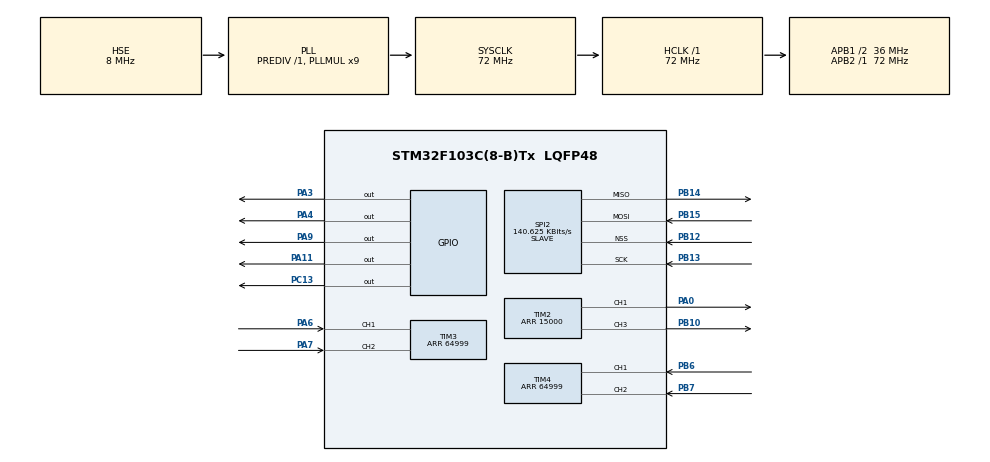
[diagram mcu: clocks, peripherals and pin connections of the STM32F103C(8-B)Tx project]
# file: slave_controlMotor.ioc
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Mcu.Family=STM32F1
Mcu.Name=STM32F103C(8-B)Tx
Mcu.Package=LQFP48
NVIC.PriorityGroup=NVIC_PRIORITYGROUP_4
NVIC.SPI2_IRQn=true\:0\:0\:true\:false\:true\:true\:true
NVIC.TIM1_UP_IRQn=true\:1\:0\:true\:false\:true\:true\:true
NVIC.TIM3_IRQn=true\:2\:0\:true\:false\:true\:true\:true
NVIC.TIM4_IRQn=true\:2\:0\:true\:false\:true\:true\:true
PA0-WKUP.Signal=S_TIM2_CH1_ETR
PA11.GPIO_PuPd=GPIO_PULLDOWN
PA11.Signal=GPIO_Output
PA13.Mode=Serial_Wire
PA13.Signal=SYS_JTMS-SWDIO
PA14.Mode=Serial_Wire
PA14.Signal=SYS_JTCK-SWCLK
PA3.GPIO_PuPd=GPIO_PULLDOWN
PA3.Signal=GPIO_Output
PA4.GPIO_PuPd=GPIO_PULLDOWN
PA4.Signal=GPIO_Output
PA6.GPIO_PuPd=GPIO_PULLDOWN
PA6.Signal=S_TIM3_CH1
PA7.GPIO_PuPd=GPIO_PULLDOWN
PA7.Signal=S_TIM3_CH2
PA9.GPIO_PuPd=GPIO_PULLDOWN
PA9.Signal=GPIO_Output
PB10.Signal=S_TIM2_CH3
PB12.GPIO_PuPd=GPIO_PULLUP
PB12.Mode=NSS_Signal_Hard_Input
PB12.Signal=SPI2_NSS
PB13.GPIO_PuPd=GPIO_PULLDOWN
PB13.Mode=Full_Duplex_Slave
PB13.Signal=SPI2_SCK
PB14.Mode=Full_Duplex_Slave
PB14.Signal=SPI2_MISO
PB15.GPIO_PuPd=GPIO_PULLDOWN
PB15.Mode=Full_Duplex_Slave
PB15.Signal=SPI2_MOSI
PB6.GPIO_PuPd=GPIO_PULLDOWN
PB6.Signal=S_TIM4_CH1
PB7.GPIO_PuPd=GPIO_PULLDOWN
PB7.Signal=S_TIM4_CH2
PC13-TAMPER-RTC.Signal=GPIO_Output
PD0-OSC_IN.Mode=HSE-External-Oscillator
PD0-OSC_IN.Signal=RCC_OSC_IN
PD1-OSC_OUT.Mode=HSE-External-Oscillator
PD1-OSC_OUT.Signal=RCC_OSC_OUT
ProjectManager.HeapSize=0x200
ProjectManager.StackSize=0x400
ProjectManager.TargetToolchain=STM32CubeIDE
RCC.AHBFreq_Value=72000000
RCC.APB1CLKDivider=RCC_HCLK_DIV2
RCC.APB1Freq_Value=36000000
RCC.APB1TimFreq_Value=72000000
RCC.APB2Freq_Value=72000000
RCC.APB2TimFreq_Value=72000000
RCC.HCLKFreq_Value=72000000
RCC.PLLMUL=RCC_PLL_MUL9
RCC.PLLSourceVirtual=RCC_PLLSOURCE_HSE
RCC.SYSCLKFreq_VALUE=72000000
RCC.SYSCLKSource=RCC_SYSCLKSOURCE_PLLCLK
RCC.USBFreq_Value=72000000
SH.S_TIM2_CH1_ETR.0=TIM2_CH1,PWM Generation1 CH1
SH.S_TIM2_CH3.0=TIM2_CH3,PWM Generation3 CH3
SH.S_TIM3_CH1.0=TIM3_CH1,Encoder_Interface
SH.S_TIM3_CH2.0=TIM3_CH2,Encoder_Interface
SH.S_TIM4_CH1.0=TIM4_CH1,Encoder_Interface
SH.S_TIM4_CH2.0=TIM4_CH2,Encoder_Interface
SPI2.BaudRatePrescaler=SPI_BAUDRATEPRESCALER_256
SPI2.CalculateBaudRate=140.625 KBits/s
SPI2.Direction=SPI_DIRECTION_2LINES
SPI2.Mode=SPI_MODE_SLAVE
SPI2.VirtualNSS=VM_NSSHARD
SPI2.VirtualType=VM_SLAVE
TIM1.Channel-Output\ Compare1\ No\ Output=TIM_CHANNEL_1
TIM1.Period=59999
TIM1.Prescaler=11
TIM2.Channel-PWM\ Generation1\ CH1=TIM_CHANNEL_1
TIM2.Channel-PWM\ Generation3\ CH3=TIM_CHANNEL_3
TIM2.Period=15000
TIM3.EncoderMode=TIM_ENCODERMODE_TI12
TIM3.Period=64999
TIM4.EncoderMode=TIM_ENCODERMODE_TI12
TIM4.IC1Polarity=TIM_ICPOLARITY_FALLING
TIM4.IC2Polarity=TIM_ICPOLARITY_RISING
TIM4.Period=64999
VP_TIM1_VS_ClockSourceINT.Mode=Internal
VP_TIM1_VS_no_output1.Mode=Output Compare1 No Output
VP_TIM2_VS_ClockSourceINT.Mode=Internal
board=custom

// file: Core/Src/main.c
/* USER CODE BEGIN Header */
/**
 ******************************************************************************
 * @file           : main.c
 * @brief          : Main program body
 ******************************************************************************
 * @attention
 *
 * <h2><center>&copy; Copyright (c) 2021 STMicroelectronics.
 * All rights reserved.</center></h2>
 *
 * This software component is licensed by ST under BSD 3-Clause license,
 * the "License"; You may not use this file except in compliance with the
 * License. You may obtain a copy of the License at:
 *                        opensource.org/licenses/BSD-3-Clause
 *
 ******************************************************************************
 */
/* USER CODE END Header */
#include "main.h"

/* USER CODE BEGIN Includes */
#include "stdlib.h"
#include <stdio.h>
#include <inttypes.h>
#include "math.h"
/* USER CODE END Includes */

/* USER CODE BEGIN PD */
#define MAX_BUFFER 40
#define MAX_DUTY_CICLE 15000
#define ZERO_MARGIN 5.0
/* USER CODE END PD */

SPI_HandleTypeDef hspi2;

TIM_HandleTypeDef htim1;
TIM_HandleTypeDef htim2;
TIM_HandleTypeDef htim3;
TIM_HandleTypeDef htim4;

/* USER CODE BEGIN PV */
uint8_t byte;
uint8_t indRx = 0, flagRx;
char buffer[MAX_BUFFER];
uint8_t in_buffer[14];
uint8_t out_buffer[14] = { ':', 'w', '1', '-', '0', '1', ';', ':', 'w', '2',
		'-', '0', '2', ';' };

int contOUFlow = 0, pulsosAnt = 0, pulsosAct = 0;
int contOUFlow2 = 0, pulsosAnt2 = 0, pulsosAct2 = 0;
double velocidadPulsos = 0, velocidadRPM = 0, deltaT = 0.01;
double velocidadPulsos2 = 0, velocidadRPM2 = 0;

//variables para control
double error_vel_act = 0, error_vel_ant = 0;
double error_vel_act2 = 0, error_vel_ant2 = 0;
double velocidad_consigna = 0;
double velocidad_consigna2 = 0;
double KP1 = 20, KI1 = 2, KD1 = 4;
double KP2 = 20, KI2 = 2, KD2 = 4;
//double ZERO_MARGIN = 5.0;

double Ui_anterior = 0, Ui_actual = 0; // para control integral
double Up = 0;
double Ud = 0;
double Ui_anterior2 = 0, Ui_actual2 = 0; // para control integral
double Up2 = 0;
double Ud2 = 0;

int control = 1, control2 = 1;
uint32_t duty_cycle_pid = 0;
uint32_t duty_cycle_pid2 = 0;
int stop1 = 1;
int stop2 = 1;

char s1;
char s2;

char v1_1;
char v1_2;

char v2_1;
char v2_2 ;

int v1, v2;

/* USER CODE END PV */

void SystemClock_Config(void);
static void MX_GPIO_Init(void);
static void MX_TIM1_Init(void);
static void MX_TIM2_Init(void);
static void MX_SPI2_Init(void);
static void MX_TIM3_Init(void);
static void MX_TIM4_Init(void);

/* USER CODE BEGIN 0 */
void interpreteComando() {

	double consigna;

	switch (buffer[0]) {
		case 'W':
		case 'w':
			switch (buffer[1]) {
			/*codigo ascii de '1' = 49*/
			case 49:
				if (buffer[2]) {
					/*codigo ascii de '+' = 43*/
					if (buffer[2] == 43) {
						stop1 = 0;
						if (buffer[3]) {
							consigna = atof(&buffer[3]);
							if (consigna < 35) {
								velocidad_consigna = consigna;
							} else {
								velocidad_consigna = 35;
							}
						}
						/*codigo ascii de '-' = 45*/
					} else if (buffer[2] == 45) {
						stop1 = 0;
						if (buffer[3]) {
							consigna = atof(&buffer[3]);
							if (consigna < 35) {
								velocidad_consigna = -consigna;
							} else {
								velocidad_consigna = -35;
							}
						}
						/*codigo ascii de '0' = 48*/
					} else if (buffer[2] == 48) {
						velocidad_consigna = 0;
						stop1 = 1;
					}
				}
				break;
				/*codigo ascii de '2' = 50*/
			case 50:
				if (buffer[2]) {
					if (buffer[2] == 43) {
						stop2 = 0;
						if (buffer[3]) {
							consigna = atof(&buffer[3]);
							if (consigna < 35) {
								velocidad_consigna2 = consigna;
							} else {
								velocidad_consigna2 = 35;
							}
						}
					} else if (buffer[2] == 45) {
						stop2 = 0;
						if (buffer[3]) {
							consigna = atof(&buffer[3]);
							if (consigna == 0) {
								velocidad_consigna2 = 0;
							} else if (consigna < 35) {
								velocidad_consigna2 = -consigna;
							} else {
								velocidad_consigna2 = -35;
							}
						}
					} else if (buffer[2] == 48) {
						velocidad_consigna2 = 0;
						stop2 = 1;
					}
				}
				break;
				/*codigo ascii simbolo '?' = 63 */
			}
			break;
		case 'p':
		case 'P':
			switch (buffer[1]) {
			/*codigo ascii de '1' = 49*/
			case 49:
				consigna = atof(&buffer[2]);
				KP1 = (float) consigna;
				printf("\r\n");
				break;
				/*codigo ascii de '2' = 50*/
			case 50:
				consigna = atof(&buffer[2]);
				KP2 = (float) consigna;
				printf("\r\n");
				break;
			default:
				printf("\r\n Por favor indicar el valor correcto ( 1 ó 2 )\r\n");
				break;

			}
			break;
		case 'i':
		case 'I':
			switch (buffer[1]) {
			/*codigo ascii de '1' = 49*/
			case 49:
				consigna = atof(&buffer[2]);
				KI1 = (float) consigna;
				printf("\r\n");
				break;
				/*codigo ascii de '2' = 50*/
			case 50:
				consigna = atof(&buffer[2]);
				KI2 = (float) consigna;
				printf("\r\n");
				break;
			default:
				printf("\r\n Por favor indicar el valor correcto ( 1 ó 2 )\r\n");
				break;
			}
			break;
		case 'd':
		case 'D':
			switch (buffer[1]) {
			/*codigo ascii de '1' = 49*/
			case 49:
				consigna = atof(&buffer[2]);
				KD1 = (float) consigna;
				printf("\r\n");
				break;
				/*codigo ascii de '2' = 50*/
			case 50:
				consigna = atof(&buffer[2]);
				KD2 = (float) consigna;
				printf("\r\n");
				break;
			default:
				printf("\r\n Por favor indicar el valor correcto ( 1 ó 2 )\r\n");
				break;
			}
			break;
	}

}

void generateSpeedResponse(double vel1, double vel2) {

  	if (vel1 < 0) {
		s1 = '-';
	} else {
		s1 = '+';
	}

	if (vel2 < 0) {
		s2 = '-';
	} else {
		s2 = '+';
	}

	v1 = (int) fabs(vel1);
	v2 = (int) fabs(vel2);

	if (v1 < 10) {
		v1_1 = '0';
		v1_2 = v1 + '0';
	} else {
		v1_1 = (v1 / 10) + '0';
		v1_2 = (v1 % 10) + '0';
	}

	if (v2 < 10) {
		v2_1 = '0';
		v2_2 = v2 + '0';
	} else {
		v2_1 = (v2 / 10) + '0';
		v2_2 = (v2 % 10) + '0';
	}

	out_buffer[3] = s1;
	out_buffer[4] = v1_1;
	out_buffer[5] = v1_2;
	out_buffer[10] = s2;
	out_buffer[11] = v2_1;
	out_buffer[12] = v2_2;

}

int directionConsistencyChecker(double speed_set_point, int motor) {
	if(motor == 1) {
		if(speed_set_point > 0) {
			return HAL_GPIO_ReadPin(GPIOA, GPIO_PIN_3) && !HAL_GPIO_ReadPin(GPIOA, GPIO_PIN_4);
		}else if (speed_set_point < 0) {
			return !HAL_GPIO_ReadPin(GPIOA, GPIO_PIN_3) && HAL_GPIO_ReadPin(GPIOA, GPIO_PIN_4);
		}else {
			return HAL_GPIO_ReadPin(GPIOA, GPIO_PIN_3) && HAL_GPIO_ReadPin(GPIOA, GPIO_PIN_4);
		}
	}else if(motor == 2) {
		if(speed_set_point > 0) {
			return HAL_GPIO_ReadPin(GPIOA, GPIO_PIN_11) && !HAL_GPIO_ReadPin(GPIOA, GPIO_PIN_9);
		}else if (speed_set_point < 0) {
			return !HAL_GPIO_ReadPin(GPIOA, GPIO_PIN_11) && HAL_GPIO_ReadPin(GPIOA, GPIO_PIN_9);
		}else {
			return HAL_GPIO_ReadPin(GPIOA, GPIO_PIN_11) && HAL_GPIO_ReadPin(GPIOA, GPIO_PIN_9);
		}
	}
	return 0;
}

void setDirection(double speed_set_point, int motor) {
	if(motor == 1) {
		if(speed_set_point > 0) {
			HAL_GPIO_WritePin(GPIOA, GPIO_PIN_3, 1);
			HAL_GPIO_WritePin(GPIOA, GPIO_PIN_4, 0);
		}else if (speed_set_point < 0) {
			HAL_GPIO_WritePin(GPIOA, GPIO_PIN_3, 0);
			HAL_GPIO_WritePin(GPIOA, GPIO_PIN_4, 1);
		}else {
			HAL_GPIO_WritePin(GPIOA, GPIO_PIN_3, 1);
			HAL_GPIO_WritePin(GPIOA, GPIO_PIN_4, 1);
		}
	}else if(motor == 2) {
		if(speed_set_point > 0) {
			HAL_GPIO_WritePin(GPIOA, GPIO_PIN_11, 1);
			HAL_GPIO_WritePin(GPIOA, GPIO_PIN_9, 0);
		}else if (speed_set_point < 0) {
			HAL_GPIO_WritePin(GPIOA, GPIO_PIN_11, 0);
			HAL_GPIO_WritePin(GPIOA, GPIO_PIN_9, 1);
		}else {
			HAL_GPIO_WritePin(GPIOA, GPIO_PIN_11, 1);
			HAL_GPIO_WritePin(GPIOA, GPIO_PIN_9, 1);
		}
	}
}

void HAL_TIM_PeriodElapsedCallback(TIM_HandleTypeDef *htim) {
	if (htim->Instance == TIM1) {

		pulsosAct = (contOUFlow * 65000) + __HAL_TIM_GET_COUNTER(&htim3);
		velocidadPulsos = (pulsosAct - pulsosAnt) / deltaT;
		velocidadRPM = velocidadPulsos / (168 * 44) * 60;
		pulsosAnt = pulsosAct;

		pulsosAct2 = (contOUFlow2 * 65000) + __HAL_TIM_GET_COUNTER(&htim4);
		velocidadPulsos2 = (pulsosAct2 - pulsosAnt2) / deltaT;
		velocidadRPM2 = velocidadPulsos2 / (168 * 44) * 60;
		pulsosAnt2 = pulsosAct2;

		/*se cargan los valores de velocidad en el buffer de salida de spi*/
		generateSpeedResponse(velocidadRPM, velocidadRPM2);

		int consistent_direction_1 = directionConsistencyChecker(velocidad_consigna, 1);
		int consistent_direction_2 = directionConsistencyChecker(velocidad_consigna2, 2);

		if(!consistent_direction_1) {
			if(velocidadRPM < ZERO_MARGIN && velocidadRPM > -ZERO_MARGIN) {
				setDirection(velocidad_consigna, 1);
				control = 1;
			}else {
				HAL_GPIO_WritePin(GPIOA, GPIO_PIN_3, 1);
				HAL_GPIO_WritePin(GPIOA, GPIO_PIN_4, 1);
				control = 0;
				duty_cycle_pid = 0; //Free running stop, fast stop can cause overcurrent protection tripping
				__HAL_TIM_SET_COMPARE(&htim2, TIM_CHANNEL_1, duty_cycle_pid);
				stop1 = 1;
			}
		}

		if(!consistent_direction_2) {
			if(velocidadRPM2 < ZERO_MARGIN && velocidadRPM2 > -ZERO_MARGIN) {
				setDirection(velocidad_consigna2, 2);
				control2 = 1;
			}else {
				HAL_GPIO_WritePin(GPIOA, GPIO_PIN_9, 1);
				HAL_GPIO_WritePin(GPIOA, GPIO_PIN_11, 1);
				control2 = 0;
				duty_cycle_pid2 = 0;
				__HAL_TIM_SET_COMPARE(&htim2, TIM_CHANNEL_3, duty_cycle_pid2);
				stop2 = 1;
			}
		}

		//para el control
		if (control == 1) {
			//calculo PID:
			/*
			 *----------------  control motor 1
			 */

			error_vel_act = velocidad_consigna - velocidadRPM;
			if (stop1 == 1) {
				Ui_anterior = 0;
			}
			Up = KP1 * error_vel_act;
			Ui_actual = Ui_anterior + (KI1 * deltaT * error_vel_ant);
			Ud = (KD1 / deltaT) * (error_vel_act - error_vel_ant);
			if (velocidad_consigna > 0) {
				duty_cycle_pid = (uint32_t) fabs(
						duty_cycle_pid + (Up + Ui_actual + Ud));
			} else if (velocidad_consigna < 0) {
				duty_cycle_pid = (uint32_t) fabs(
						duty_cycle_pid - (Up + Ui_actual + Ud));
			} else {
				duty_cycle_pid = 0;
			}

			if (duty_cycle_pid > MAX_DUTY_CICLE) {
				duty_cycle_pid = MAX_DUTY_CICLE;
			}
			__HAL_TIM_SET_COMPARE(&htim2, TIM_CHANNEL_1, duty_cycle_pid);
			Ui_anterior = Ui_actual;
			error_vel_ant = error_vel_act;

		}

		if(control2 == 1){

			/*
			 * ------------------control motor 2
			 */

			error_vel_act2 = velocidad_consigna2 - velocidadRPM2;
			if (stop2 == 1) {
				Ui_anterior2 = 0;
			}
			Up2 = KP2 * error_vel_act2;
			Ui_actual2 = Ui_anterior2 + KI2 * deltaT * error_vel_ant2;
			Ud2 = KD2 / deltaT * (error_vel_act2 - error_vel_ant2);
			if (velocidad_consigna2 > 0) {
				duty_cycle_pid2 = (uint32_t) fabs(
						duty_cycle_pid2 + (Up2 + Ui_actual2 + Ud2));
			} else if (velocidad_consigna2 < 0) {
				duty_cycle_pid2 = (uint32_t) fabs(
						duty_cycle_pid2 - (Up2 + Ui_actual2 + Ud2));
			} else {
				duty_cycle_pid2 = 0;
			}
			if (duty_cycle_pid2 > MAX_DUTY_CICLE) {
				duty_cycle_pid2 = MAX_DUTY_CICLE;
			}
			__HAL_TIM_SET_COMPARE(&htim2, TIM_CHANNEL_3, duty_cycle_pid2);
			Ui_anterior2 = Ui_actual2;
			error_vel_ant2 = error_vel_act2;

		}
	} else if (htim->Instance == TIM3) {
		if (__HAL_TIM_GET_COUNTER(&htim3) > (htim->Init.Period + 1) / 2) { //Underflow
			contOUFlow--;
		} else { //Overflow
			contOUFlow++;
		}
	} else if (htim->Instance == TIM4) {
		if (__HAL_TIM_GET_COUNTER(&htim4) > (htim->Init.Period + 1) / 2) { //Underflow
			contOUFlow2--;
		} else { //Overflow
			contOUFlow2++;
		}
	}
}

/**
 * @brief  The application entry point.
 * @retval int
 */
void HAL_SPI_TxRxCpltCallback(SPI_HandleTypeDef *hspi) {
	if (hspi->Instance == SPI2) {
		for (int i = 0; i < 14; i++) {
			switch (in_buffer[i]) {
			case ':': //Comienzo de la trama
				flagRx = 1;
				indRx = 0;
				break;
			case ';':  //Fin de trama.
				if (flagRx) {
					flagRx = 0;
					buffer[indRx] = 0;
					interpreteComando();
				}
				break;
			default: //Almacenamiento de la trama.
				if (flagRx) {
					buffer[indRx] = in_buffer[i];
					if (indRx < MAX_BUFFER - 1) {
						indRx++;
					}

				}
				break;
			}
		}
		HAL_SPI_TransmitReceive_IT(&hspi2, &out_buffer[0], &in_buffer[0],14);

	}

}

/* USER CODE END 0 */

int main(void)
{

  /* MCU Configuration--------------------------------------------------------*/

  /* Reset of all peripherals, Initializes the Flash interface and the Systick. */
  HAL_Init();

  /* Configure the system clock */
  SystemClock_Config();

  /* Initialize all configured peripherals */
  MX_GPIO_Init();
  MX_TIM1_Init();
  MX_TIM2_Init();
  MX_SPI2_Init();
  MX_TIM3_Init();
  MX_TIM4_Init();
  /* USER CODE BEGIN 2 */
	HAL_TIM_Base_Start_IT(&htim1);
	HAL_TIM_OC_Start_IT(&htim1, TIM_CHANNEL_1);

	/*Se activan canales para generacion PWM- */
	/*canal 1 para motor 1 */
	/*canal 3 para motor 2*/
	HAL_TIM_Base_Start(&htim2);
	HAL_TIM_PWM_Start_IT(&htim2, TIM_CHANNEL_1);
	HAL_TIM_PWM_Start_IT(&htim2, TIM_CHANNEL_3);

	HAL_TIM_Base_Start_IT(&htim3);
	HAL_TIM_Encoder_Start_IT(&htim3, TIM_CHANNEL_ALL);

	HAL_TIM_Base_Start_IT(&htim4);
	HAL_TIM_Encoder_Start_IT(&htim4, TIM_CHANNEL_ALL);

	/*Se activa frenado el motor  1*/
	HAL_GPIO_WritePin(GPIOA, GPIO_PIN_3, 1);
	HAL_GPIO_WritePin(GPIOA, GPIO_PIN_4, 1);

	/*Se activa frenado el motor 2*/
	HAL_GPIO_WritePin(GPIOA, GPIO_PIN_9, 1);
	HAL_GPIO_WritePin(GPIOA, GPIO_PIN_11, 1);
	/*Se fuerza valor del contador del timer 3 y 4 para lecturas de encoders*/
	__HAL_TIM_SET_COUNTER(&htim3, 0);
	__HAL_TIM_SET_COUNTER(&htim4, 0);

	/*se inicializa el duty cicle de los motores*/
	__HAL_TIM_SET_COMPARE(&htim2, TIM_CHANNEL_3, 0);
	__HAL_TIM_SET_COMPARE(&htim2, TIM_CHANNEL_1, 0);
	HAL_SPI_TransmitReceive_IT(&hspi2, &out_buffer[0], &in_buffer[0],14);
  /* USER CODE END 2 */

  /* Infinite loop */
  /* USER CODE BEGIN WHILE */
	while (1) {

		HAL_GPIO_WritePin(GPIOC, GPIO_PIN_13, 1);
		HAL_Delay(100);
		HAL_GPIO_WritePin(GPIOC, GPIO_PIN_13, 0);
		HAL_Delay(100);
    /* USER CODE END WHILE */

	}
}

void SystemClock_Config(void)
{
  RCC_OscInitTypeDef RCC_OscInitStruct = {0};
  RCC_ClkInitTypeDef RCC_ClkInitStruct = {0};

  /** Initializes the RCC Oscillators according to the specified parameters
  * in the RCC_OscInitTypeDef structure.
  */
  RCC_OscInitStruct.OscillatorType = RCC_OSCILLATORTYPE_HSE;
  RCC_OscInitStruct.HSEState = RCC_HSE_ON;
  RCC_OscInitStruct.HSEPredivValue = RCC_HSE_PREDIV_DIV1;
  RCC_OscInitStruct.HSIState = RCC_HSI_ON;
  RCC_OscInitStruct.PLL.PLLState = RCC_PLL_ON;
  RCC_OscInitStruct.PLL.PLLSource = RCC_PLLSOURCE_HSE;
  RCC_OscInitStruct.PLL.PLLMUL = RCC_PLL_MUL9;
  if (HAL_RCC_OscConfig(&RCC_OscInitStruct) != HAL_OK)
  {
    Error_Handler();
  }
  /** Initializes the CPU, AHB and APB buses clocks
  */
  RCC_ClkInitStruct.ClockType = RCC_CLOCKTYPE_HCLK|RCC_CLOCKTYPE_SYSCLK
                              |RCC_CLOCKTYPE_PCLK1|RCC_CLOCKTYPE_PCLK2;
  RCC_ClkInitStruct.SYSCLKSource = RCC_SYSCLKSOURCE_PLLCLK;
  RCC_ClkInitStruct.AHBCLKDivider = RCC_SYSCLK_DIV1;
  RCC_ClkInitStruct.APB1CLKDivider = RCC_HCLK_DIV2;
  RCC_ClkInitStruct.APB2CLKDivider = RCC_HCLK_DIV1;

  if (HAL_RCC_ClockConfig(&RCC_ClkInitStruct, FLASH_LATENCY_2) != HAL_OK)
  {
    Error_Handler();
  }
}

static void MX_SPI2_Init(void)
{

  /* SPI2 parameter configuration*/
  hspi2.Instance = SPI2;
  hspi2.Init.Mode = SPI_MODE_SLAVE;
  hspi2.Init.Direction = SPI_DIRECTION_2LINES;
  hspi2.Init.DataSize = SPI_DATASIZE_8BIT;
  hspi2.Init.CLKPolarity = SPI_POLARITY_LOW;
  hspi2.Init.CLKPhase = SPI_PHASE_1EDGE;
  hspi2.Init.NSS = SPI_NSS_HARD_INPUT;
  hspi2.Init.BaudRatePrescaler = SPI_BAUDRATEPRESCALER_256;
  hspi2.Init.FirstBit = SPI_FIRSTBIT_MSB;
  hspi2.Init.TIMode = SPI_TIMODE_DISABLE;
  hspi2.Init.CRCCalculation = SPI_CRCCALCULATION_DISABLE;
  hspi2.Init.CRCPolynomial = 10;
  if (HAL_SPI_Init(&hspi2) != HAL_OK)
  {
    Error_Handler();
  }

}

static void MX_TIM1_Init(void)
{

  TIM_ClockConfigTypeDef sClockSourceConfig = {0};
  TIM_MasterConfigTypeDef sMasterConfig = {0};
  TIM_OC_InitTypeDef sConfigOC = {0};
  TIM_BreakDeadTimeConfigTypeDef sBreakDeadTimeConfig = {0};

  htim1.Instance = TIM1;
  htim1.Init.Prescaler = 11;
  htim1.Init.CounterMode = TIM_COUNTERMODE_UP;
  htim1.Init.Period = 59999;
  htim1.Init.ClockDivision = TIM_CLOCKDIVISION_DIV1;
  htim1.Init.RepetitionCounter = 0;
  htim1.Init.AutoReloadPreload = TIM_AUTORELOAD_PRELOAD_DISABLE;
  if (HAL_TIM_Base_Init(&htim1) != HAL_OK)
  {
    Error_Handler();
  }
  sClockSourceConfig.ClockSource = TIM_CLOCKSOURCE_INTERNAL;
  if (HAL_TIM_ConfigClockSource(&htim1, &sClockSourceConfig) != HAL_OK)
  {
    Error_Handler();
  }
  if (HAL_TIM_OC_Init(&htim1) != HAL_OK)
  {
    Error_Handler();
  }
  sMasterConfig.MasterOutputTrigger = TIM_TRGO_RESET;
  sMasterConfig.MasterSlaveMode = TIM_MASTERSLAVEMODE_DISABLE;
  if (HAL_TIMEx_MasterConfigSynchronization(&htim1, &sMasterConfig) != HAL_OK)
  {
    Error_Handler();
  }
  sConfigOC.OCMode = TIM_OCMODE_TIMING;
  sConfigOC.Pulse = 0;
  sConfigOC.OCPolarity = TIM_OCPOLARITY_HIGH;
  sConfigOC.OCNPolarity = TIM_OCNPOLARITY_HIGH;
  sConfigOC.OCFastMode = TIM_OCFAST_DISABLE;
  sConfigOC.OCIdleState = TIM_OCIDLESTATE_RESET;
  sConfigOC.OCNIdleState = TIM_OCNIDLESTATE_RESET;
  if (HAL_TIM_OC_ConfigChannel(&htim1, &sConfigOC, TIM_CHANNEL_1) != HAL_OK)
  {
    Error_Handler();
  }
  sBreakDeadTimeConfig.OffStateRunMode = TIM_OSSR_DISABLE;
  sBreakDeadTimeConfig.OffStateIDLEMode = TIM_OSSI_DISABLE;
  sBreakDeadTimeConfig.LockLevel = TIM_LOCKLEVEL_OFF;
  sBreakDeadTimeConfig.DeadTime = 0;
  sBreakDeadTimeConfig.BreakState = TIM_BREAK_DISABLE;
  sBreakDeadTimeConfig.BreakPolarity = TIM_BREAKPOLARITY_HIGH;
  sBreakDeadTimeConfig.AutomaticOutput = TIM_AUTOMATICOUTPUT_DISABLE;
  if (HAL_TIMEx_ConfigBreakDeadTime(&htim1, &sBreakDeadTimeConfig) != HAL_OK)
  {
    Error_Handler();
  }

}

static void MX_TIM2_Init(void)
{

  TIM_ClockConfigTypeDef sClockSourceConfig = {0};
  TIM_MasterConfigTypeDef sMasterConfig = {0};
  TIM_OC_InitTypeDef sConfigOC = {0};

  htim2.Instance = TIM2;
  htim2.Init.Prescaler = 0;
  htim2.Init.CounterMode = TIM_COUNTERMODE_UP;
  htim2.Init.Period = 15000;
  htim2.Init.ClockDivision = TIM_CLOCKDIVISION_DIV1;
  htim2.Init.AutoReloadPreload = TIM_AUTORELOAD_PRELOAD_DISABLE;
  if (HAL_TIM_Base_Init(&htim2) != HAL_OK)
  {
    Error_Handler();
  }
  sClockSourceConfig.ClockSource = TIM_CLOCKSOURCE_INTERNAL;
  if (HAL_TIM_ConfigClockSource(&htim2, &sClockSourceConfig) != HAL_OK)
  {
    Error_Handler();
  }
  if (HAL_TIM_PWM_Init(&htim2) != HAL_OK)
  {
    Error_Handler();
  }
  sMasterConfig.MasterOutputTrigger = TIM_TRGO_RESET;
  sMasterConfig.MasterSlaveMode = TIM_MASTERSLAVEMODE_DISABLE;
  if (HAL_TIMEx_MasterConfigSynchronization(&htim2, &sMasterConfig) != HAL_OK)
  {
    Error_Handler();
  }
  sConfigOC.OCMode = TIM_OCMODE_PWM1;
  sConfigOC.Pulse = 0;
  sConfigOC.OCPolarity = TIM_OCPOLARITY_HIGH;
  sConfigOC.OCFastMode = TIM_OCFAST_DISABLE;
  if (HAL_TIM_PWM_ConfigChannel(&htim2, &sConfigOC, TIM_CHANNEL_1) != HAL_OK)
  {
    Error_Handler();
  }
  if (HAL_TIM_PWM_ConfigChannel(&htim2, &sConfigOC, TIM_CHANNEL_3) != HAL_OK)
  {
    Error_Handler();
  }
  HAL_TIM_MspPostInit(&htim2);

}

static void MX_TIM3_Init(void)
{

  TIM_Encoder_InitTypeDef sConfig = {0};
  TIM_MasterConfigTypeDef sMasterConfig = {0};

  htim3.Instance = TIM3;
  htim3.Init.Prescaler = 0;
  htim3.Init.CounterMode = TIM_COUNTERMODE_UP;
  htim3.Init.Period = 64999;
  htim3.Init.ClockDivision = TIM_CLOCKDIVISION_DIV1;
  htim3.Init.AutoReloadPreload = TIM_AUTORELOAD_PRELOAD_DISABLE;
  sConfig.EncoderMode = TIM_ENCODERMODE_TI12;
  sConfig.IC1Polarity = TIM_ICPOLARITY_RISING;
  sConfig.IC1Selection = TIM_ICSELECTION_DIRECTTI;
  sConfig.IC1Prescaler = TIM_ICPSC_DIV1;
  sConfig.IC1Filter = 0;
  sConfig.IC2Polarity = TIM_ICPOLARITY_RISING;
  sConfig.IC2Selection = TIM_ICSELECTION_DIRECTTI;
  sConfig.IC2Prescaler = TIM_ICPSC_DIV1;
  sConfig.IC2Filter = 0;
  if (HAL_TIM_Encoder_Init(&htim3, &sConfig) != HAL_OK)
  {
    Error_Handler();
  }
  sMasterConfig.MasterOutputTrigger = TIM_TRGO_RESET;
  sMasterConfig.MasterSlaveMode = TIM_MASTERSLAVEMODE_DISABLE;
  if (HAL_TIMEx_MasterConfigSynchronization(&htim3, &sMasterConfig) != HAL_OK)
  {
    Error_Handler();
  }

}

static void MX_TIM4_Init(void)
{

  TIM_Encoder_InitTypeDef sConfig = {0};
  TIM_MasterConfigTypeDef sMasterConfig = {0};

  htim4.Instance = TIM4;
  htim4.Init.Prescaler = 0;
  htim4.Init.CounterMode = TIM_COUNTERMODE_UP;
  htim4.Init.Period = 64999;
  htim4.Init.ClockDivision = TIM_CLOCKDIVISION_DIV1;
  htim4.Init.AutoReloadPreload = TIM_AUTORELOAD_PRELOAD_DISABLE;
  sConfig.EncoderMode = TIM_ENCODERMODE_TI12;
  sConfig.IC1Polarity = TIM_ICPOLARITY_FALLING;
  sConfig.IC1Selection = TIM_ICSELECTION_DIRECTTI;
  sConfig.IC1Prescaler = TIM_ICPSC_DIV1;
  sConfig.IC1Filter = 0;
  sConfig.IC2Polarity = TIM_ICPOLARITY_RISING;
  sConfig.IC2Selection = TIM_ICSELECTION_DIRECTTI;
  sConfig.IC2Prescaler = TIM_ICPSC_DIV1;
  sConfig.IC2Filter = 0;
  if (HAL_TIM_Encoder_Init(&htim4, &sConfig) != HAL_OK)
  {
    Error_Handler();
  }
  sMasterConfig.MasterOutputTrigger = TIM_TRGO_RESET;
  sMasterConfig.MasterSlaveMode = TIM_MASTERSLAVEMODE_DISABLE;
  if (HAL_TIMEx_MasterConfigSynchronization(&htim4, &sMasterConfig) != HAL_OK)
  {
    Error_Handler();
  }

}

static void MX_GPIO_Init(void)
{
  GPIO_InitTypeDef GPIO_InitStruct = {0};

  /* GPIO Ports Clock Enable */
  __HAL_RCC_GPIOC_CLK_ENABLE();
  __HAL_RCC_GPIOD_CLK_ENABLE();
  __HAL_RCC_GPIOA_CLK_ENABLE();
  __HAL_RCC_GPIOB_CLK_ENABLE();

  /*Configure GPIO pin Output Level */
  HAL_GPIO_WritePin(GPIOC, GPIO_PIN_13, GPIO_PIN_RESET);

  /*Configure GPIO pin Output Level */
  HAL_GPIO_WritePin(GPIOA, GPIO_PIN_3|GPIO_PIN_4|GPIO_PIN_9|GPIO_PIN_11, GPIO_PIN_RESET);

  /*Configure GPIO pin : PC13 */
  GPIO_InitStruct.Pin = GPIO_PIN_13;
  GPIO_InitStruct.Mode = GPIO_MODE_OUTPUT_PP;
  GPIO_InitStruct.Pull = GPIO_NOPULL;
  GPIO_InitStruct.Speed = GPIO_SPEED_FREQ_LOW;
  HAL_GPIO_Init(GPIOC, &GPIO_InitStruct);

  /*Configure GPIO pins : PA3 PA4 PA9 PA11 */
  GPIO_InitStruct.Pin = GPIO_PIN_3|GPIO_PIN_4|GPIO_PIN_9|GPIO_PIN_11;
  GPIO_InitStruct.Mode = GPIO_MODE_OUTPUT_PP;
  GPIO_InitStruct.Pull = GPIO_PULLDOWN;
  GPIO_InitStruct.Speed = GPIO_SPEED_FREQ_LOW;
  HAL_GPIO_Init(GPIOA, &GPIO_InitStruct);

}

void Error_Handler(void)
{
  /* USER CODE BEGIN Error_Handler_Debug */
	/* User can add his own implementation to report the HAL error return state */
//  __disable_irq();
//  while (1)
//  {
//  }
  /* USER CODE END Error_Handler_Debug */
}

/************************ (C) COPYRIGHT STMicroelectronics *****END OF FILE****/
